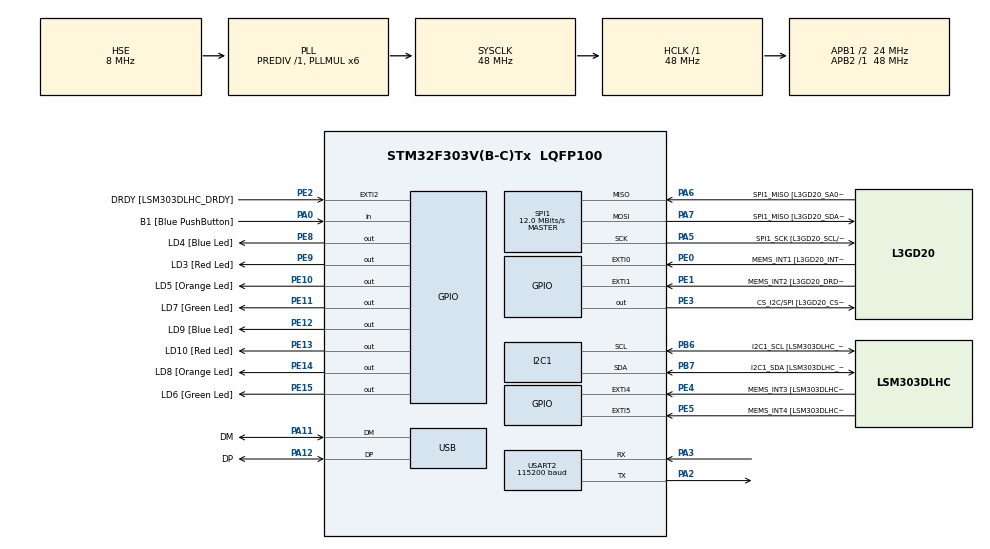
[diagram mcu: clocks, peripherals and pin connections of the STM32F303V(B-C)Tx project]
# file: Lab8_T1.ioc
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I2C1.Timing=0x00201D2B
I2C1.Timing-I2C=0x2000090E
Mcu.Family=STM32F3
Mcu.Name=STM32F303V(B-C)Tx
Mcu.Package=LQFP100
NVIC.PriorityGroup=NVIC_PRIORITYGROUP_0
NVIC.SPI1_IRQn=true\:0\:0\:false\:false\:true\:true\:true\:true
NVIC.USART2_IRQn=true\:0\:0\:false\:false\:true\:true\:true\:true
PA0.GPIO_Label=B1 [Blue PushButton]
PA0.Signal=GPIO_Input
PA11.GPIO_Label=DM
PA11.Mode=Device
PA11.Signal=USB_DM
PA12.GPIO_Label=DP
PA12.Mode=Device
PA12.Signal=USB_DP
PA13.GPIO_Label=SWDIO
PA13.Mode=Serial_Wire
PA13.Signal=SYS_JTMS-SWDIO
PA14.GPIO_Label=SWCLK
PA14.Mode=Serial_Wire
PA14.Signal=SYS_JTCK-SWCLK
PA2.Mode=Asynchronous
PA2.Signal=USART2_TX
PA3.Mode=Asynchronous
PA3.Signal=USART2_RX
PA5.GPIO_Label=SPI1_SCK [L3GD20_SCL/SPC]
PA5.Mode=Full_Duplex_Master
PA5.Signal=SPI1_SCK
PA6.GPIO_Label=SPI1_MISO [L3GD20_SA0/SDO]
PA6.Mode=Full_Duplex_Master
PA6.Signal=SPI1_MISO
PA7.GPIO_Label=SPI1_MISO [L3GD20_SDA/SDI/SDO]
PA7.Mode=Full_Duplex_Master
PA7.Signal=SPI1_MOSI
PB3.GPIO_Label=SWO
PB3.Signal=SYS_JTDO-TRACESWO
PB6.GPIO_Label=I2C1_SCL [LSM303DLHC_SCL]
PB6.GPIO_Pu=GPIO_PULLUP
PB6.Mode=I2C
PB6.Signal=I2C1_SCL
PB7.GPIO_Label=I2C1_SDA [LSM303DLHC_SDA]
PB7.GPIO_Pu=GPIO_PULLUP
PB7.Mode=I2C
PB7.Signal=I2C1_SDA
PC14-OSC32_IN.GPIO_Label=OSC32_IN
PC14-OSC32_IN.Signal=RCC_OSC32_IN
PC15-OSC32_OUT.GPIO_Label=OSC32_OUT
PC15-OSC32_OUT.Signal=RCC_OSC32_OUT
PE0.GPIO_Label=MEMS_INT1 [L3GD20_INT1]
PE0.GPIO_ModeDefaultEXTI=GPIO_MODE_EVT_RISING
PE0.Signal=GPXTI0
PE1.GPIO_Label=MEMS_INT2 [L3GD20_DRDY/INT2]
PE1.GPIO_ModeDefaultEXTI=GPIO_MODE_EVT_RISING
PE1.Signal=GPXTI1
PE10.GPIO_Label=LD5 [Orange Led]
PE10.Signal=GPIO_Output
PE11.GPIO_Label=LD7 [Green Led]
PE11.Signal=GPIO_Output
PE12.GPIO_Label=LD9 [Blue Led]
PE12.Signal=GPIO_Output
PE13.GPIO_Label=LD10 [Red Led]
PE13.Signal=GPIO_Output
PE14.GPIO_Label=LD8 [Orange Led]
PE14.Signal=GPIO_Output
PE15.GPIO_Label=LD6 [Green Led]
PE15.Signal=GPIO_Output
PE2.GPIO_Label=DRDY [LSM303DLHC_DRDY]
PE2.GPIO_ModeDefaultEXTI=GPIO_MODE_EVT_RISING
PE2.Signal=GPXTI2
PE3.GPIO_Label=CS_I2C/SPI [L3GD20_CS_I2C/SPI]
PE3.Signal=GPIO_Output
PE4.GPIO_Label=MEMS_INT3 [LSM303DLHC_INT1]
PE4.GPIO_ModeDefaultEXTI=GPIO_MODE_EVT_RISING
PE4.Signal=GPXTI4
PE5.GPIO_Label=MEMS_INT4 [LSM303DLHC_INT2]
PE5.GPIO_ModeDefaultEXTI=GPIO_MODE_EVT_RISING
PE5.Signal=GPXTI5
PE8.GPIO_Label=LD4 [Blue Led]
PE8.Signal=GPIO_Output
PE9.GPIO_Label=LD3 [Red Led]
PE9.Signal=GPIO_Output
PF0-OSC_IN.GPIO_Label=OSC_IN
PF0-OSC_IN.Mode=HSE-External-Clock-Source
PF0-OSC_IN.Signal=RCC_OSC_IN
PF1-OSC_OUT.GPIO_Label=OSC_OUT
PF1-OSC_OUT.Signal=RCC_OSC_OUT
ProjectManager.HeapSize=0x200
ProjectManager.StackSize=0x400
ProjectManager.TargetToolchain=CMake
RCC.AHBFreq_Value=48000000
RCC.APB1CLKDivider=RCC_HCLK_DIV2
RCC.APB1Freq_Value=24000000
RCC.APB1TimFreq_Value=48000000
RCC.APB2Freq_Value=48000000
RCC.APB2TimFreq_Value=48000000
RCC.CortexFreq_Value=48000000
RCC.HCLKFreq_Value=48000000
RCC.HSE_VALUE=8000000
RCC.HSI_VALUE=8000000
RCC.LSE_VALUE=32768
RCC.PLLMUL=RCC_PLL_MUL6
RCC.SYSCLKFreq_VALUE=48000000
RCC.SYSCLKSourceVirtual=RCC_SYSCLKSOURCE_PLLCLK
RCC.USBFreq_Value=48000000
SPI1.BaudRatePrescaler=SPI_BAUDRATEPRESCALER_4
SPI1.BaudRatePrescaler-Full_Duplex_Master=SPI_BAUDRATEPRESCALER_2
SPI1.CalculateBaudRate=12.0 MBits/s
SPI1.CalculateBaudRate-Full_Duplex_Master=24.0 MBits/s
SPI1.DataSize=SPI_DATASIZE_8BIT
SPI1.Direction=SPI_DIRECTION_2LINES
SPI1.Mode=SPI_MODE_MASTER
SPI1.Mode-Full_Duplex_Master=SPI_MODE_MASTER
SPI1.VirtualType=VM_MASTER
USART2.BaudRate=115200
USART2.VirtualMode-Asynchronous=VM_ASYNC
board=STM32F3DISCOVERY

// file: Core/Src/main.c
/* USER CODE BEGIN Header */
/**
  ******************************************************************************
  * @file           : main.c
  * @brief          : Lab 8 Task 2 - Read Temperature from I3G4250D Gyroscope
  *                   via SPI in Interrupt Mode, transmit over UART
  ******************************************************************************
  * @attention
  *
  * Copyright (c) 2026 STMicroelectronics.
  * All rights reserved.
  *
  * This software is licensed under terms that can be found in the LICENSE file
  * in the root directory of this software component.
  * If no LICENSE file comes with this software, it is provided AS-IS.
  *
  ******************************************************************************
  */
/* USER CODE END Header */

#include "main.h"

/* USER CODE BEGIN Includes */
#include <stdio.h>
#include <string.h>
/* USER CODE END Includes */

/* USER CODE BEGIN PD */

/* Gyroscope Register Addresses */
#define CTRL_REG1           0x20    /* Control register 1 */
#define CTRL_REG1_VAL       0x0F    /* PD=1 (power on), Zen=1, Yen=1, Xen=1 */

#define OUT_TEMP_ADDR       0x26    /* Temperature output register */

/* SPI Command Bits */
#define SPI_READ_FLAG       0x80    /* Bit7 = 1 => read operation */

/* Chip Select Pin - PE3 on STM32F3 Discovery */
#define GYRO_CS_PIN         GPIO_PIN_3
#define GYRO_CS_PORT        GPIOE

/* USER CODE END PD */

/* USER CODE BEGIN PM */

#define GYRO_CS_LOW()   HAL_GPIO_WritePin(GYRO_CS_PORT, GYRO_CS_PIN, GPIO_PIN_RESET)
#define GYRO_CS_HIGH()  HAL_GPIO_WritePin(GYRO_CS_PORT, GYRO_CS_PIN, GPIO_PIN_SET)

/* USER CODE END PM */

I2C_HandleTypeDef hi2c1;
SPI_HandleTypeDef hspi1;
UART_HandleTypeDef huart2;
PCD_HandleTypeDef hpcd_USB_FS;

/* USER CODE BEGIN PV */

/* SPI state machine */
typedef enum {
    SPI_STATE_IDLE = 0,
    SPI_STATE_TX_DONE,
    SPI_STATE_RX_DONE
} SPI_State_t;

volatile SPI_State_t spiState = SPI_STATE_IDLE;

/* SPI Buffers */
uint8_t tx_buf[1];
uint8_t rx_buf[1];

/* Temperature value (signed 8-bit per datasheet) */
volatile int8_t temperature = 0;

/* UART transmit buffer */
char uart_buf[32];

/* USER CODE END PV */

void SystemClock_Config(void);
static void MX_GPIO_Init(void);
static void MX_I2C1_Init(void);
static void MX_SPI1_Init(void);
static void MX_USART2_UART_Init(void);
static void MX_USB_PCD_Init(void);

/* USER CODE BEGIN PFP */
void gyro_init(void);
void gyro_read_temp_start(void);
/* USER CODE END PFP */

/* USER CODE BEGIN 0 */

/**
  * @brief  Initialize the I3G4250D gyroscope.
  *         Writes to CTRL_REG1 to power on the sensor and enable all axes.
  *         Must be called once in main() before the while(1) loop.
  */
void gyro_init(void)
{
    uint8_t tx[2];
    tx[0] = CTRL_REG1;       /* Register address to write to */
    tx[1] = CTRL_REG1_VAL;   /* Value: PD=1, Zen=1, Yen=1, Xen=1 */

    GYRO_CS_LOW();
    HAL_SPI_Transmit(&hspi1, tx, 2, HAL_MAX_DELAY);
    GYRO_CS_HIGH();
}

/**
  * @brief  Start an interrupt-driven SPI read of the temperature register.
  *         Step 1 of 2: Transmit the register address byte (with read bit).
  *         Execution continues in HAL_SPI_TxCpltCallback() once TX is done.
  *
  *         Command byte construction:
  *           SPI_READ_FLAG | OUT_TEMP_ADDR
  *           = 0x80        | 0x26
  *           = 0xA6
  *           = 1010 0110   (bit7=1 => read, bits[5:0]=0x26 => OUT_TEMP)
  */
void gyro_read_temp_start(void)
{
    tx_buf[0] = SPI_READ_FLAG | OUT_TEMP_ADDR;  /* 0xA6 */
    spiState  = SPI_STATE_IDLE;

    GYRO_CS_LOW();
    HAL_SPI_Transmit_IT(&hspi1, tx_buf, 1);     /* Non-blocking TX */
}

/**
  * @brief  SPI Transmit Complete Callback (auto-called by HAL after TX done).
  *         Step 2 of 2: The address byte has been sent; now receive 1 data byte.
  *         CS stays LOW during this call because we are mid-transaction.
  */
void HAL_SPI_TxCpltCallback(SPI_HandleTypeDef *hspi)
{
    if (hspi->Instance == SPI1)
    {
        spiState = SPI_STATE_TX_DONE;
        HAL_SPI_Receive_IT(&hspi1, rx_buf, 1);  /* Non-blocking RX */
    }
}

/**
  * @brief  SPI Receive Complete Callback (auto-called by HAL after RX done).
  *         The temperature byte is now in rx_buf[0].
  *         Pull CS HIGH to end the SPI transaction, then store the value.
  */
void HAL_SPI_RxCpltCallback(SPI_HandleTypeDef *hspi)
{
    if (hspi->Instance == SPI1)
    {
        GYRO_CS_HIGH();

        temperature = (int8_t)rx_buf[0];   /* Cast to signed (datasheet: -1 °C/digit) */
        spiState    = SPI_STATE_RX_DONE;
    }
}

/* USER CODE END 0 */

int main(void)
{

    /* MCU Configuration -------------------------------------------------------*/
    HAL_Init();

    SystemClock_Config();

    /* Initialize all configured peripherals */
    MX_GPIO_Init();
    MX_I2C1_Init();
    MX_SPI1_Init();
    MX_USART2_UART_Init();
    MX_USB_PCD_Init();

    /* USER CODE BEGIN 2 */

    /* Initialize gyroscope: power on, enable X/Y/Z axes */
    gyro_init();

    /* Small delay to let the sensor stabilize after power-on */
    HAL_Delay(100);

    /* USER CODE END 2 */

    /* Infinite loop */
    /* USER CODE BEGIN WHILE */
    while (1)
    {
        /* --- Step 1: Kick off interrupt-based temperature read --- */
        gyro_read_temp_start();

        /* --- Step 2: Wait (spin) until the full SPI transaction completes ---
         *   The HAL callbacks advance spiState:
         *     IDLE -> TX_DONE (in TxCpltCallback)
         *          -> RX_DONE (in RxCpltCallback)
         */
        while (spiState != SPI_STATE_RX_DONE)
        {
            /* Waiting for interrupt callbacks to finish */
        }

        /* --- Step 3: Transmit temperature value over UART ---
         *   Format: signed integer followed by \r\n
         *   Example output line: "27\r\n"
         *   The Python plotting script on the LMS parses this format.
         */
        int len = snprintf(uart_buf, sizeof(uart_buf), "%d\r\n", (int)temperature);
        HAL_UART_Transmit(&huart2, (uint8_t *)uart_buf, (uint16_t)len, HAL_MAX_DELAY);

        /* --- Step 4: Wait ~150 ms before next reading (100-200 ms per lab spec) --- */
        HAL_Delay(150);

        /* USER CODE END WHILE */

    }
}

void SystemClock_Config(void)
{
    RCC_OscInitTypeDef RCC_OscInitStruct = {0};
    RCC_ClkInitTypeDef RCC_ClkInitStruct = {0};
    RCC_PeriphCLKInitTypeDef PeriphClkInit = {0};

    RCC_OscInitStruct.OscillatorType      = RCC_OSCILLATORTYPE_HSI | RCC_OSCILLATORTYPE_HSE;
    RCC_OscInitStruct.HSEState            = RCC_HSE_BYPASS;
    RCC_OscInitStruct.HSEPredivValue      = RCC_HSE_PREDIV_DIV1;
    RCC_OscInitStruct.HSIState            = RCC_HSI_ON;
    RCC_OscInitStruct.HSICalibrationValue = RCC_HSICALIBRATION_DEFAULT;
    RCC_OscInitStruct.PLL.PLLState        = RCC_PLL_ON;
    RCC_OscInitStruct.PLL.PLLSource       = RCC_PLLSOURCE_HSE;
    RCC_OscInitStruct.PLL.PLLMUL         = RCC_PLL_MUL6;
    if (HAL_RCC_OscConfig(&RCC_OscInitStruct) != HAL_OK)
    {
        Error_Handler();
    }

    RCC_ClkInitStruct.ClockType      = RCC_CLOCKTYPE_HCLK | RCC_CLOCKTYPE_SYSCLK
                                     | RCC_CLOCKTYPE_PCLK1 | RCC_CLOCKTYPE_PCLK2;
    RCC_ClkInitStruct.SYSCLKSource   = RCC_SYSCLKSOURCE_PLLCLK;
    RCC_ClkInitStruct.AHBCLKDivider  = RCC_SYSCLK_DIV1;
    RCC_ClkInitStruct.APB1CLKDivider = RCC_HCLK_DIV2;
    RCC_ClkInitStruct.APB2CLKDivider = RCC_HCLK_DIV1;
    if (HAL_RCC_ClockConfig(&RCC_ClkInitStruct, FLASH_LATENCY_1) != HAL_OK)
    {
        Error_Handler();
    }

    PeriphClkInit.PeriphClockSelection  = RCC_PERIPHCLK_USB | RCC_PERIPHCLK_USART2
                                        | RCC_PERIPHCLK_I2C1;
    PeriphClkInit.Usart2ClockSelection  = RCC_USART2CLKSOURCE_PCLK1;
    PeriphClkInit.I2c1ClockSelection    = RCC_I2C1CLKSOURCE_HSI;
    PeriphClkInit.USBClockSelection     = RCC_USBCLKSOURCE_PLL;
    if (HAL_RCCEx_PeriphCLKConfig(&PeriphClkInit) != HAL_OK)
    {
        Error_Handler();
    }
}

static void MX_I2C1_Init(void)
{
    hi2c1.Instance              = I2C1;
    hi2c1.Init.Timing           = 0x00201D2B;
    hi2c1.Init.OwnAddress1      = 0;
    hi2c1.Init.AddressingMode   = I2C_ADDRESSINGMODE_7BIT;
    hi2c1.Init.DualAddressMode  = I2C_DUALADDRESS_DISABLE;
    hi2c1.Init.OwnAddress2      = 0;
    hi2c1.Init.OwnAddress2Masks = I2C_OA2_NOMASK;
    hi2c1.Init.GeneralCallMode  = I2C_GENERALCALL_DISABLE;
    hi2c1.Init.NoStretchMode    = I2C_NOSTRETCH_DISABLE;
    if (HAL_I2C_Init(&hi2c1) != HAL_OK)
    {
        Error_Handler();
    }
    if (HAL_I2CEx_ConfigAnalogFilter(&hi2c1, I2C_ANALOGFILTER_ENABLE) != HAL_OK)
    {
        Error_Handler();
    }
    if (HAL_I2CEx_ConfigDigitalFilter(&hi2c1, 0) != HAL_OK)
    {
        Error_Handler();
    }
}

static void MX_SPI1_Init(void)
{
    hspi1.Instance               = SPI1;
    hspi1.Init.Mode              = SPI_MODE_MASTER;
    hspi1.Init.Direction         = SPI_DIRECTION_2LINES;
    hspi1.Init.DataSize          = SPI_DATASIZE_8BIT;
    hspi1.Init.CLKPolarity       = SPI_POLARITY_LOW;
    hspi1.Init.CLKPhase          = SPI_PHASE_1EDGE;
    hspi1.Init.NSS               = SPI_NSS_SOFT;
    hspi1.Init.BaudRatePrescaler = SPI_BAUDRATEPRESCALER_4;
    hspi1.Init.FirstBit          = SPI_FIRSTBIT_MSB;
    hspi1.Init.TIMode            = SPI_TIMODE_DISABLE;
    hspi1.Init.CRCCalculation    = SPI_CRCCALCULATION_DISABLE;
    hspi1.Init.CRCPolynomial     = 7;
    hspi1.Init.CRCLength         = SPI_CRC_LENGTH_DATASIZE;
    hspi1.Init.NSSPMode          = SPI_NSS_PULSE_ENABLE;
    if (HAL_SPI_Init(&hspi1) != HAL_OK)
    {
        Error_Handler();
    }
}

static void MX_USART2_UART_Init(void)
{
    huart2.Instance            = USART2;
    huart2.Init.BaudRate       = 115200;
    huart2.Init.WordLength     = UART_WORDLENGTH_8B;
    huart2.Init.StopBits       = UART_STOPBITS_1;
    huart2.Init.Parity         = UART_PARITY_NONE;
    huart2.Init.Mode           = UART_MODE_TX_RX;
    huart2.Init.HwFlowCtl      = UART_HWCONTROL_NONE;
    huart2.Init.OverSampling   = UART_OVERSAMPLING_16;
    huart2.Init.OneBitSampling = UART_ONE_BIT_SAMPLE_DISABLE;
    huart2.AdvancedInit.AdvFeatureInit = UART_ADVFEATURE_NO_INIT;
    if (HAL_UART_Init(&huart2) != HAL_OK)
    {
        Error_Handler();
    }
}

static void MX_USB_PCD_Init(void)
{
    hpcd_USB_FS.Instance                = USB;
    hpcd_USB_FS.Init.dev_endpoints      = 8;
    hpcd_USB_FS.Init.speed              = PCD_SPEED_FULL;
    hpcd_USB_FS.Init.phy_itface         = PCD_PHY_EMBEDDED;
    hpcd_USB_FS.Init.low_power_enable   = DISABLE;
    hpcd_USB_FS.Init.battery_charging_enable = DISABLE;
    if (HAL_PCD_Init(&hpcd_USB_FS) != HAL_OK)
    {
        Error_Handler();
    }
}

static void MX_GPIO_Init(void)
{
    GPIO_InitTypeDef GPIO_InitStruct = {0};

    /* GPIO Ports Clock Enable */
    __HAL_RCC_GPIOE_CLK_ENABLE();
    __HAL_RCC_GPIOC_CLK_ENABLE();
    __HAL_RCC_GPIOF_CLK_ENABLE();
    __HAL_RCC_GPIOA_CLK_ENABLE();
    __HAL_RCC_GPIOB_CLK_ENABLE();

    /* Default output level: CS HIGH (deasserted) and LEDs off */
    HAL_GPIO_WritePin(GPIOE, CS_I2C_SPI_Pin | LD4_Pin | LD3_Pin | LD5_Pin
                           | LD7_Pin | LD9_Pin | LD10_Pin | LD8_Pin
                           | LD6_Pin, GPIO_PIN_RESET);

    /* CS pin starts HIGH — gyroscope not selected */
    HAL_GPIO_WritePin(GYRO_CS_PORT, GYRO_CS_PIN, GPIO_PIN_SET);

    /* Configure DRDY / interrupt input pins */
    GPIO_InitStruct.Pin  = DRDY_Pin | MEMS_INT3_Pin | MEMS_INT4_Pin
                         | MEMS_INT1_Pin | MEMS_INT2_Pin;
    GPIO_InitStruct.Mode = GPIO_MODE_EVT_RISING;
    GPIO_InitStruct.Pull = GPIO_NOPULL;
    HAL_GPIO_Init(GPIOE, &GPIO_InitStruct);

    /* Configure output pins: CS (PE3) and LEDs */
    GPIO_InitStruct.Pin   = CS_I2C_SPI_Pin | LD4_Pin | LD3_Pin | LD5_Pin
                          | LD7_Pin | LD9_Pin | LD10_Pin | LD8_Pin
                          | LD6_Pin;
    GPIO_InitStruct.Mode  = GPIO_MODE_OUTPUT_PP;
    GPIO_InitStruct.Pull  = GPIO_NOPULL;
    GPIO_InitStruct.Speed = GPIO_SPEED_FREQ_LOW;
    HAL_GPIO_Init(GPIOE, &GPIO_InitStruct);

    /* Configure user button */
    GPIO_InitStruct.Pin  = B1_Pin;
    GPIO_InitStruct.Mode = GPIO_MODE_INPUT;
    GPIO_InitStruct.Pull = GPIO_NOPULL;
    HAL_GPIO_Init(B1_GPIO_Port, &GPIO_InitStruct);
}

/**
  * @brief  Error handler — disables interrupts and halts.
  */
void Error_Handler(void)
{
    __disable_irq();
    while (1)
    {
    }
}
